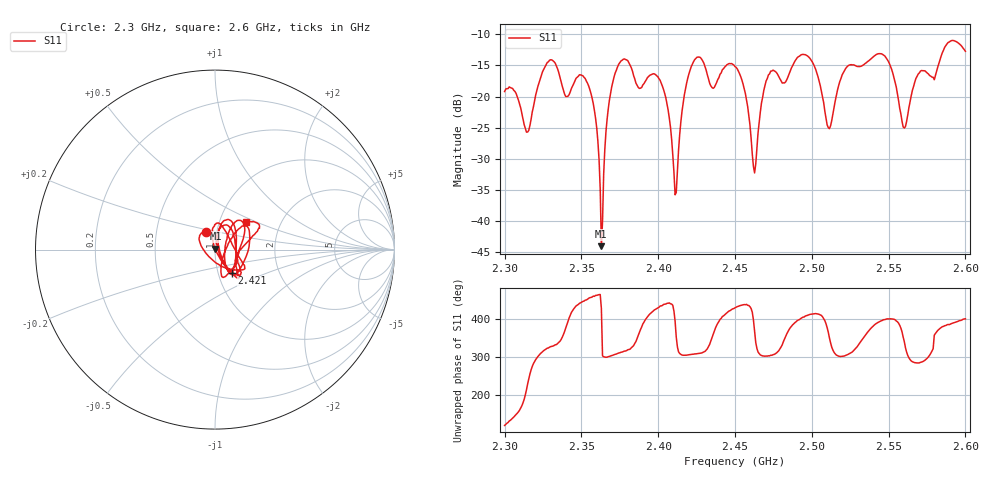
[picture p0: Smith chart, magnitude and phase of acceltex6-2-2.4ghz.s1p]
! NanoVNA-App
! Date: 2026-05-15 12:08:04
! Start: 2.3GHz Stop: 2.6GHz Points: 401
! S-Parameter data: F S11
# Hz S RI R 50
!  Frequency  S11_Real  S11_Imag
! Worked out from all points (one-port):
!   401 points, 2.3 GHz to 2.6 GHz, reference 50 ohm
!   lowest |S11| = -44.1 dB at 2.363 GHz (marker M1), VSWR 1.01, Z = 50.2 + j0.586 ohm
!   |S11| at or under -10 dB: start of sweep to end of sweep
!   S11 on the Smith chart (normalised r, x): 2.3 GHz: 0.89, +0.17; 2.421 GHz: 1.17, -0.32; 2.6 GHz: 1.34, +0.43
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2.3e9  -0.0515 0.0968
2.315e9  -0.0344 -0.0387
2.32775e9  0.1502 -0.1126
2.3375e9  0.1204 -0.0171
2.35475e9  -0.0119 0.1208
2.35925e9  -0.0153 0.0647
2.363e9  0.00226 0.00583
2.36825e9  0.0484 -0.0804
2.375e9  0.1226 -0.1412
2.4005e9  0.0438 0.132
2.4065e9  0.0103 0.0767
2.411e9  0.0133 0.0093
2.4125e9  0.0212 -0.0139
2.41625e9  0.0501 -0.0733
2.42075e9  0.0957 -0.1321
2.45e9  0.0589 0.1638
2.45675e9  0.0213 0.1035
2.46275e9  0.024 0.00383
2.47175e9  0.081 -0.1251
2.4875e9  0.1604 0.0746
2.4995e9  0.1178 0.1576
2.5115e9  0.0543 -0.00954
2.525e9  0.115 -0.1383
2.54675e9  0.1678 0.1345
2.5595e9  0.0564 -0.00747
2.5625e9  0.0396 -0.0594
2.57e9  0.0375 -0.1502
2.6e9  0.1742 0.1517
